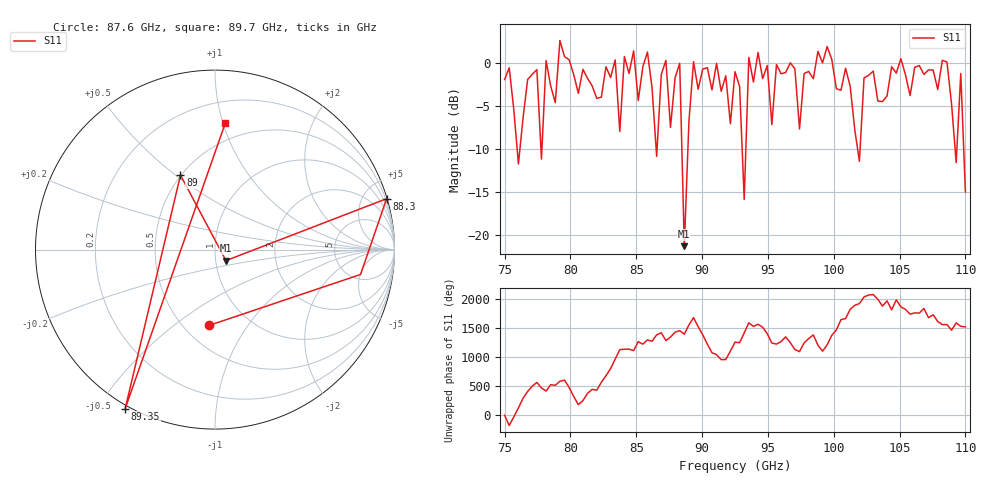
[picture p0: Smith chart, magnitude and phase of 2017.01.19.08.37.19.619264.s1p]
!Created with skrf (http://scikit-rf.org).
# GHz S RI R 50.0
!freq ReS11 ImS11
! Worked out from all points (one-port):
!   101 points, 75 GHz to 110 GHz, reference 50 ohm
!   lowest |S11| = -21.3 dB at 88.65 GHz (marker M1), VSWR 1.19, Z = 56.1 - j6.92 ohm
!   |S11| at or under -10 dB: 75.95413 GHz to 76.16268 GHz (208.6 MHz wide, 0.274 % of centre); 77.76151 GHz to 77.83494 GHz (73.43 MHz wide, 0.0944 % of centre); 86.51336 GHz to 86.58067 GHz (67.31 MHz wide, 0.0778 % of centre) (the widest 3 of 8)
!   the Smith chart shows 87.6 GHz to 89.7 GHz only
!   S11 on the Smith chart (normalised r, x): 87.6 GHz: 0.66, -0.68; 88.3 GHz: 0.07, +6.89; 89 GHz: 0.50, +0.52; 89.35 GHz: -0.01, -0.58; 89.7 GHz: 0.36, +1.02
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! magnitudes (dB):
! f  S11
! 75 GHz  -1.9
! 76.05 GHz  -11.7
! 77.45 GHz  -0.8
! 77.8 GHz  -11.1
! 78.15 GHz  0.3
! 79.55 GHz  0.7
! 83.4 GHz  0.4
! 83.75 GHz  -7.9
! 84.8 GHz  1.4
! 87.6 GHz  -7.5
! 88.3 GHz  0.0
! 88.65 GHz  -21.3
! 89 GHz  -6.8
! 89.35 GHz  0.2
! 89.7 GHz  -3.0
! 92.5 GHz  -1.0
! 93.2 GHz  -15.8
! 93.55 GHz  0.7
! 95.3 GHz  -7.1
! 97.05 GHz  -0.7
! 101.2 GHz  -2.7
! 102 GHz  -11.4
! 102.3 GHz  -1.7
! 105.8 GHz  -3.8
! 108.6 GHz  0.1
! 109.3 GHz  -11.5
! 109.7 GHz  -1.2
! 110 GHz  -15.0
